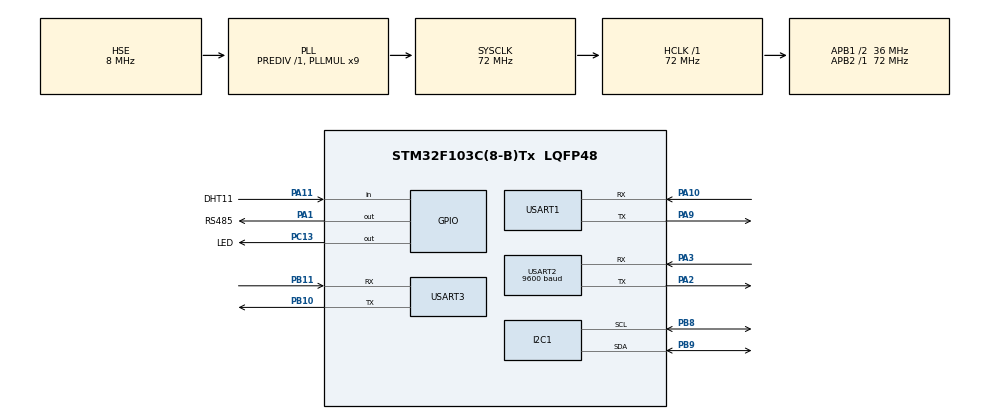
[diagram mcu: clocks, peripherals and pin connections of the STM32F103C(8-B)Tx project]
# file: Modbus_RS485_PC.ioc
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Dma.Request0=USART2_RX
Dma.USART2_RX.0.Direction=DMA_PERIPH_TO_MEMORY
Dma.USART2_RX.0.Instance=DMA1_Channel6
Dma.USART2_RX.0.MemDataAlignment=DMA_MDATAALIGN_BYTE
Dma.USART2_RX.0.MemInc=DMA_MINC_ENABLE
Dma.USART2_RX.0.Mode=DMA_CIRCULAR
Dma.USART2_RX.0.PeriphDataAlignment=DMA_PDATAALIGN_BYTE
Dma.USART2_RX.0.PeriphInc=DMA_PINC_DISABLE
Dma.USART2_RX.0.Priority=DMA_PRIORITY_LOW
Mcu.Family=STM32F1
Mcu.Name=STM32F103C(8-B)Tx
Mcu.Package=LQFP48
NVIC.DMA1_Channel6_IRQn=true\:0\:0\:false\:false\:true\:false\:true\:true
NVIC.PriorityGroup=NVIC_PRIORITYGROUP_4
NVIC.USART1_IRQn=true\:0\:0\:false\:false\:true\:true\:true\:true
NVIC.USART2_IRQn=true\:0\:0\:false\:false\:true\:true\:true\:true
NVIC.USART3_IRQn=true\:0\:0\:false\:false\:true\:true\:true\:true
PA1.GPIO_Label=RS485
PA1.Signal=GPIO_Output
PA10.Mode=Asynchronous
PA10.Signal=USART1_RX
PA11.GPIO_Label=DHT11
PA11.GPIO_PuPd=GPIO_PULLUP
PA11.Signal=GPIO_Input
PA13.Mode=Serial_Wire
PA13.Signal=SYS_JTMS-SWDIO
PA14.Mode=Serial_Wire
PA14.Signal=SYS_JTCK-SWCLK
PA2.Mode=Asynchronous
PA2.Signal=USART2_TX
PA3.Mode=Asynchronous
PA3.Signal=USART2_RX
PA9.Mode=Asynchronous
PA9.Signal=USART1_TX
PB10.Mode=Asynchronous
PB10.Signal=USART3_TX
PB11.Mode=Asynchronous
PB11.Signal=USART3_RX
PB8.Mode=I2C
PB8.Signal=I2C1_SCL
PB9.Mode=I2C
PB9.Signal=I2C1_SDA
PC13-TAMPER-RTC.GPIO_Label=LED
PC13-TAMPER-RTC.GPIO_Speed=GPIO_SPEED_FREQ_LOW
PC13-TAMPER-RTC.Signal=GPIO_Output
PC14-OSC32_IN.Mode=LSE-External-Oscillator
PC14-OSC32_IN.Signal=RCC_OSC32_IN
PC15-OSC32_OUT.Mode=LSE-External-Oscillator
PC15-OSC32_OUT.Signal=RCC_OSC32_OUT
PD0-OSC_IN.Mode=HSE-External-Oscillator
PD0-OSC_IN.Signal=RCC_OSC_IN
PD1-OSC_OUT.Mode=HSE-External-Oscillator
PD1-OSC_OUT.Signal=RCC_OSC_OUT
ProjectManager.HeapSize=0x200
ProjectManager.StackSize=0x400
ProjectManager.TargetToolchain=STM32CubeIDE
RCC.AHBFreq_Value=72000000
RCC.APB1CLKDivider=RCC_HCLK_DIV2
RCC.APB1Freq_Value=36000000
RCC.APB1TimFreq_Value=72000000
RCC.APB2Freq_Value=72000000
RCC.APB2TimFreq_Value=72000000
RCC.HCLKFreq_Value=72000000
RCC.PLLMUL=RCC_PLL_MUL9
RCC.PLLSourceVirtual=RCC_PLLSOURCE_HSE
RCC.SYSCLKFreq_VALUE=72000000
RCC.SYSCLKSource=RCC_SYSCLKSOURCE_PLLCLK
RCC.USBFreq_Value=72000000
USART1.VirtualMode=VM_ASYNC
USART2.BaudRate=9600
USART2.VirtualMode=VM_ASYNC
USART3.VirtualMode=VM_ASYNC
board=custom

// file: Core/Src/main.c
/* USER CODE BEGIN Header */
/**
  ******************************************************************************
  * @file           : main.c
  * @brief          : Main program body
  ******************************************************************************
  * @attention
  *
  * Copyright (c) 2026 STMicroelectronics.
  * All rights reserved.
  *
  * This software is licensed under terms that can be found in the LICENSE file
  * in the root directory of this software component.
  * If no LICENSE file comes with this software, it is provided AS-IS.
  *
  ******************************************************************************
  */
/* USER CODE END Header */
#include "main.h"
#include "dma.h"
#include "i2c.h"
#include "usart.h"
#include "gpio.h"

/* USER CODE BEGIN Includes */
#include "modbus_rtu.h"
#include "frame.h"
#include "console.h"
#include "dht11.h"
#include "stdio.h"
#include "OLED.h"
#include "dht11.h"
#include "Mb_port.h"
#include "mpu6050.h"
#include "tick.h"
/* USER CODE END Includes */

void SystemClock_Config(void);
/* USER CODE BEGIN PFP */
DHT11_Handle_t dht;
/* USER CODE END PFP */

int main(void)
{

  /* MCU Configuration--------------------------------------------------------*/

  /* Reset of all peripherals, Initializes the Flash interface and the Systick. */
  HAL_Init();

  /* Configure the system clock */
  SystemClock_Config();

  /* Initialize all configured peripherals */
  MX_GPIO_Init();
  MX_DMA_Init();
  MX_USART1_UART_Init();
  MX_USART2_UART_Init();
  MX_USART3_UART_Init();
  MX_I2C1_Init();
  /* USER CODE BEGIN 2 */

  mb_port_init();

  /* Modbus 判帧定时：注册为 1ms tick 回调 */
  tick_register(frame_tick);

  /*  启动串口中断接收  */
  frame_init();
  console_init();

  OLED_Init();
  OLED_Clear();
  DHT11_Init(&dht);
  /* USER CODE END 2 */

  /* Infinite loop */
  /* USER CODE BEGIN WHILE */
  OLED_Clear();
  OLED_ShowString(0, 0, "bad_SHORT:",OLED_6X8);
  OLED_ShowString(0, 8, "bad_LONG:",OLED_6X8);
  OLED_ShowString(0, 16, "bad_CRC:",OLED_6X8);
  OLED_ShowString(0, 24, "bad_Addrs:",OLED_6X8);
  OLED_Update();
  while (1)
  {
    DHT11_Status st = DHT11_Handler(&dht);

    uartDataHandler_PC();       // PC 侧数据处理
    uartDataHandler_Modbus();   // Modbus 侧数据处理

    if (st == DHT11_OK)
    {
      ModbusRegister[0]= (uint16_t)DHT11_GetTemp(&dht) * 10.0f;
      ModbusRegister[1]= (uint16_t)DHT11_GetHumi(&dht) * 10.0f;
    }

    // OLED_ShowNum(60, 0, bad_SHORT, 2, OLED_6X8);    //显示短错误次数
    // OLED_ShowNum(60, 8, bad_LONG, 2, OLED_6X8);     //显示长错误次数
    // OLED_ShowNum(60, 16, bad_CRC, 2, OLED_6X8);     //显示CRC错误次数
    // OLED_ShowNum(60, 24, bad_Addrs, 2, OLED_6X8);   //显示地址错误次数

    // OLED_ShowNum(0, 32, ModbusRegister[0], 4,OLED_6X8);
    // OLED_ShowNum(0, 40, ModbusRegister[1], 4,OLED_6X8);
    // OLED_Update();
  }

 /* DHT11_LOG_ENABLE */

    /* USER CODE END WHILE */

}

void SystemClock_Config(void)
{
  RCC_OscInitTypeDef RCC_OscInitStruct = {0};
  RCC_ClkInitTypeDef RCC_ClkInitStruct = {0};

  /** Initializes the RCC Oscillators according to the specified parameters
  * in the RCC_OscInitTypeDef structure.
  */
  RCC_OscInitStruct.OscillatorType = RCC_OSCILLATORTYPE_HSE;
  RCC_OscInitStruct.HSEState = RCC_HSE_ON;
  RCC_OscInitStruct.HSEPredivValue = RCC_HSE_PREDIV_DIV1;
  RCC_OscInitStruct.HSIState = RCC_HSI_ON;
  RCC_OscInitStruct.PLL.PLLState = RCC_PLL_ON;
  RCC_OscInitStruct.PLL.PLLSource = RCC_PLLSOURCE_HSE;
  RCC_OscInitStruct.PLL.PLLMUL = RCC_PLL_MUL9;
  if (HAL_RCC_OscConfig(&RCC_OscInitStruct) != HAL_OK)
  {
    Error_Handler();
  }

  /** Initializes the CPU, AHB and APB buses clocks
  */
  RCC_ClkInitStruct.ClockType = RCC_CLOCKTYPE_HCLK|RCC_CLOCKTYPE_SYSCLK
                              |RCC_CLOCKTYPE_PCLK1|RCC_CLOCKTYPE_PCLK2;
  RCC_ClkInitStruct.SYSCLKSource = RCC_SYSCLKSOURCE_PLLCLK;
  RCC_ClkInitStruct.AHBCLKDivider = RCC_SYSCLK_DIV1;
  RCC_ClkInitStruct.APB1CLKDivider = RCC_HCLK_DIV2;
  RCC_ClkInitStruct.APB2CLKDivider = RCC_HCLK_DIV1;

  if (HAL_RCC_ClockConfig(&RCC_ClkInitStruct, FLASH_LATENCY_2) != HAL_OK)
  {
    Error_Handler();
  }
}

void Error_Handler(void)
{
  __disable_irq();
  while (1)
  {
  }
}
